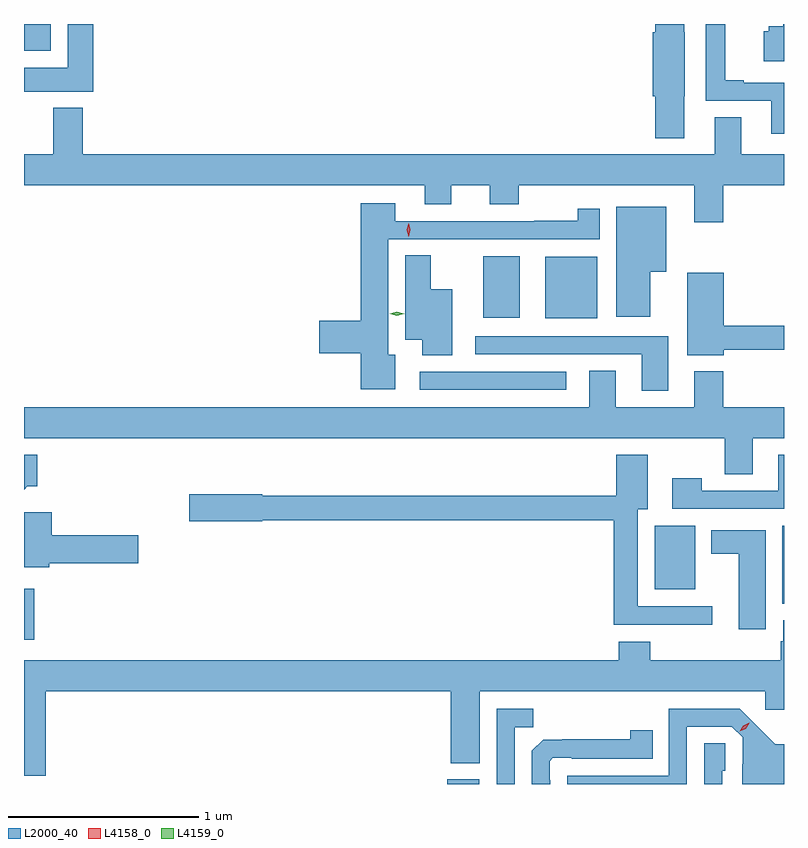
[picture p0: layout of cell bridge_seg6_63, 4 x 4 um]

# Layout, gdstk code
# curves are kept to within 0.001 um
import gdstk
lib = gdstk.Library(unit=1e-6, precision=1e-09)
def R(c, l, rs):  # rectangles x0, y0, x1, y1
    for r in rs: c.add(gdstk.rectangle(r[:2], r[2:], *l))
def P(c, l, *ps):  # polygons
    for p in ps: c.add(gdstk.Polygon(p, *l))
L2000_40 = (2000, 40)
L4158_0 = (4158, 0)
L4159_0 = (4159, 0)

bridge_seg6_63 = lib.new_cell('bridge_seg6_63')
R(bridge_seg6_63, L2000_40, [(654.206,918.877,654.373,918.901), (651.978,919.635,652.031,919.905), (655.97,919.825,655.978,920.236), (655.298,919.901,655.51,920.236), (654.06,920.952,654.832,921.048), (654.722,921.329,654.994,921.652), (654.395,921.332,654.586,921.655), (651.978,922.736,652.12,922.877)])
P(bridge_seg6_63, L2000_40, [(655.978,922.569),(655.765,922.569),(655.765,922.582),(655.669,922.582),(655.669,922.877),(655.565,922.877),(655.565,922.473),(655.91,922.473),(655.91,922.299),(655.978,922.299)],
  [(655.453,922.497),(655.456,922.497),(655.456,922.833),(655.453,922.833),(655.453,922.877),(655.301,922.877),(655.301,922.833),(655.286,922.833),(655.286,922.497),(655.301,922.497),(655.301,922.277),(655.453,922.277)],
  [(652.343,922.877),(652.208,922.877),(652.208,922.648),(651.978,922.648),(651.978,922.52),(652.343,922.52)],
  [(655.978,922.877),(655.975,922.877),(655.975,922.866),(655.899,922.866),(655.899,922.839),(655.871,922.839),(655.871,922.682),(655.978,922.682)],
  [(655.658,922.028),(655.978,922.028),(655.978,922.192),(655.753,922.192),(655.753,922.387),(655.613,922.387),(655.613,922.192),(652.286,922.192),(652.286,922.435),(652.133,922.435),(652.133,922.192),(651.978,922.192),(651.978,922.028),(654.086,922.028),(654.086,921.929),(654.226,921.929),(654.226,922.028),(654.428,922.028),(654.428,921.929),(654.581,921.929),(654.581,922.028),(655.505,922.028),(655.505,921.834),(655.658,921.834)],
  [(653.932,921.136),(653.896,921.136),(653.896,921.744),(655.009,921.744),(655.009,921.904),(654.892,921.904),(654.892,921.842),(654.664,921.842),(654.664,921.84),(653.932,921.84),(653.932,921.934),(653.75,921.934),(653.75,921.314),(653.532,921.314),(653.532,921.143),(653.75,921.143),(653.75,920.954),(653.932,920.954)],
  [(655.273,921.572),(655.357,921.572),(655.357,921.916),(655.094,921.916),(655.094,921.335),(655.273,921.335)],
  [(654.232,921.481),(654.118,921.481),(654.118,921.659),(653.984,921.659),(653.984,921.215),(654.074,921.215),(654.074,921.133),(654.232,921.133)],
  [(655.66,921.162),(655.978,921.162),(655.978,921.29),(655.66,921.29),(655.66,921.568),(655.469,921.568),(655.469,921.134),(655.66,921.134)],
  [(655.369,921.234),(654.354,921.234),(654.354,921.138),(655.229,921.138),(655.229,920.946),(655.369,920.946)],
  [(655.813,920.696),(655.978,920.696),(655.978,920.86),(655.658,920.86),(655.658,921.049),(655.505,921.049),(655.505,920.86),(655.093,920.86),(655.093,921.053),(654.953,921.053),(654.953,920.86),(651.978,920.86),(651.978,920.696),(655.666,920.696),(655.666,920.506),(655.813,920.506)],
  [(655.6,919.812),(655.207,919.812),(655.207,920.324),(655.261,920.324),(655.261,920.611),(655.094,920.611),(655.094,920.395),(653.232,920.395),(653.232,920.403),(652.848,920.403),(652.848,920.261),(653.232,920.261),(653.232,920.266),(655.082,920.266),(655.082,919.715),(655.6,919.715)],
  [(651.995,920.444),(652.049,920.444),(652.049,920.611),(651.978,920.611),(651.978,920.427)],
  [(655.978,920.611),(655.949,920.611),(655.949,920.421),(655.545,920.421),(655.545,920.485),(655.389,920.485),(655.389,920.325),(655.978,920.325)],
  [(652.111,920.039),(652.579,920.039),(652.579,920.186),(652.124,920.186),(652.124,920.307),(651.979,920.307),(651.979,920.202),(651.978,920.202),(651.978,920.018),(652.111,920.018)],
  [(655.882,920.212),(655.595,920.212),(655.595,920.09),(655.739,920.09),(655.739,919.692),(655.882,919.692)],
  [(652.093,919.364),(654.224,919.364),(654.224,918.986),(654.376,918.986),(654.376,919.364),(655.878,919.364),(655.878,919.269),(655.978,919.269),(655.978,919.74),(655.973,919.74),(655.973,919.629),(655.961,919.629),(655.961,919.528),(655.274,919.528),(655.274,919.627),(655.109,919.627),(655.109,919.528),(651.978,919.528),(651.978,918.92),(652.093,918.92)],
  [(655.467,919.179),(655.704,919.179),(655.761,919.122),(655.761,918.98),(655.757,918.98),(655.757,918.877),(655.978,918.877),(655.978,919.087),(655.931,919.087),(655.744,919.272),(655.371,919.272),(655.371,918.921),(654.837,918.921),(654.837,918.877),(655.467,918.877)],
  [(654.561,919.177),(654.657,919.177),(654.657,919.272),(654.465,919.272),(654.465,918.877),(654.561,918.877)],
  [(654.747,918.896),(654.744,918.896),(654.744,918.996),(654.762,919.014),(654.862,919.014),(654.862,919.011),(655.286,919.011),(655.286,919.159),(655.168,919.159),(655.168,919.112),(654.71,919.111),(654.651,919.052),(654.651,918.877),(654.747,918.877)],
  [(655.653,918.948),(655.668,918.948),(655.668,919.091),(655.557,919.091),(655.557,918.877),(655.653,918.877)])
P(bridge_seg6_63, L4158_0, [(655.746,919.154),(655.746,919.154),(655.763,919.184),(655.794,919.199),(655.794,919.199),(655.794,919.198),(655.777,919.169),(655.746,919.154)],
  [(654.002,921.757),(654.002,921.758),(653.992,921.793),(654.003,921.829),(654.003,921.829),(654.003,921.829),(654.012,921.793),(654.002,921.758)])
P(bridge_seg6_63, L4159_0, [(653.94,921.342),(653.902,921.351),(653.901,921.351),(653.902,921.352),(653.94,921.362),(653.978,921.352),(653.978,921.352),(653.978,921.352)])

lib.write_gds('bridge_seg6_63.gds')
